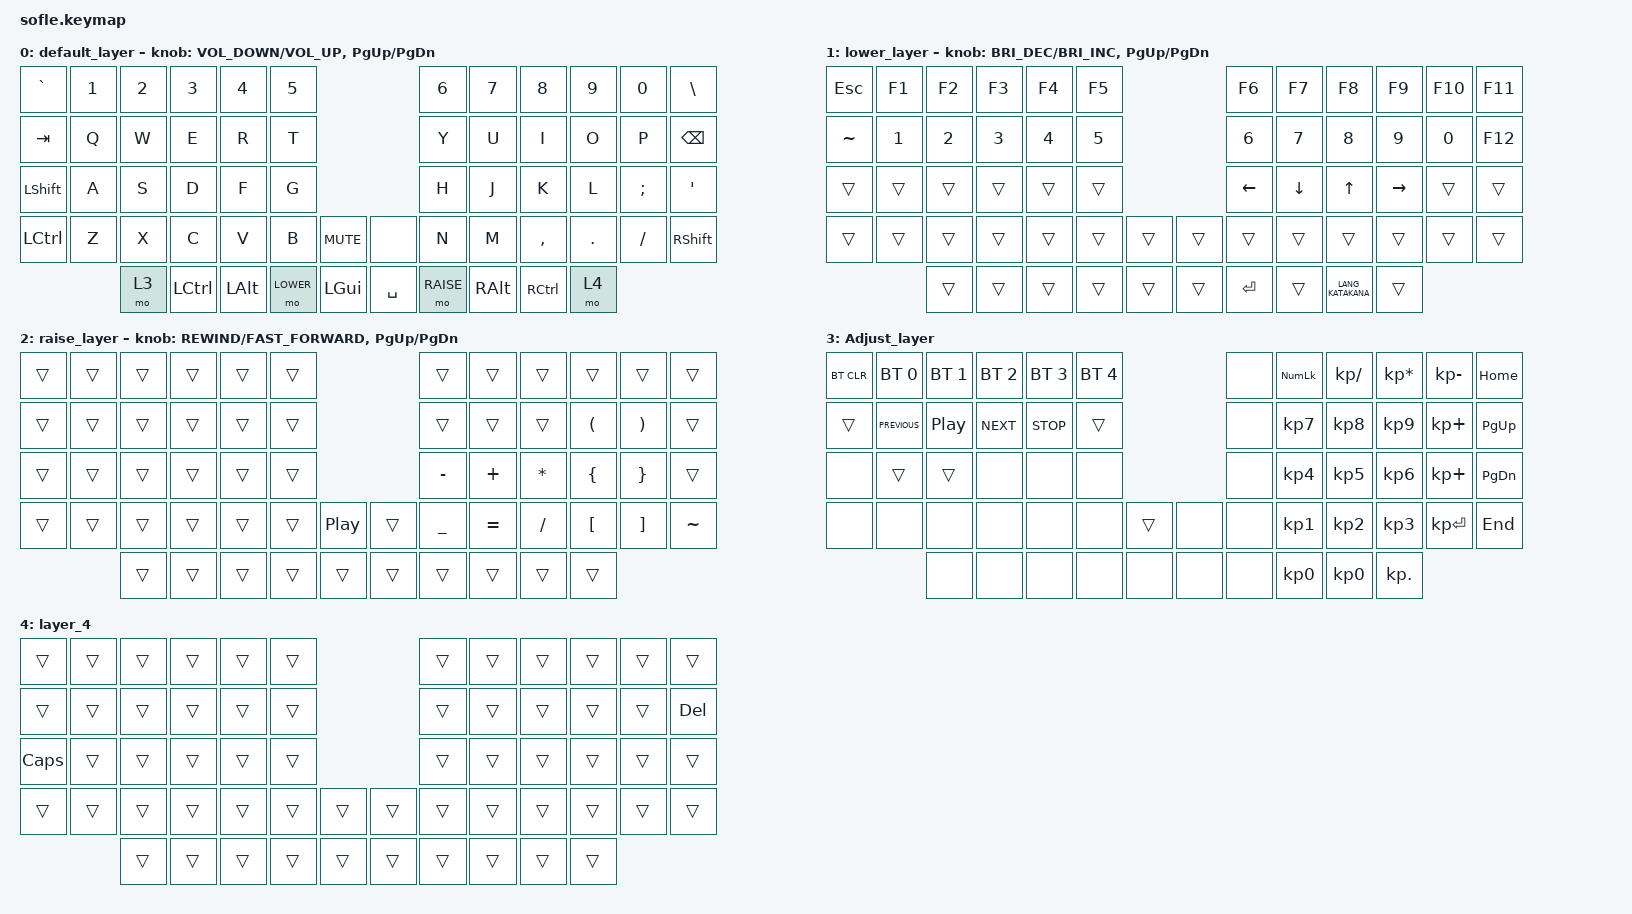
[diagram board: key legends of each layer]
/*
 * Copyright (c) 2020 The ZMK Contributors
 *
 * SPDX-License-Identifier: MIT
 */

#include <behaviors.dtsi>
#include <dt-bindings/zmk/bt.h>
#include <dt-bindings/zmk/keys.h>

#define BASE 0
#define LOWER 1
#define RAISE 2
#define ADJUST 3

/ {
    // Activate ADJUST layer by pressing raise and lower

    conditional_layers {
        compatible = "zmk,conditional-layers";

        adjust_layer {
            if-layers = <LOWER RAISE>;
            then-layer = <ADJUST>;
        };
    };

    keymap {
        compatible = "zmk,keymap";

        default_layer {
            // ------------------------------------------------------------------------------------------------------------
            // |  `    |  1  |  2  |  3   |  4   |  5   |                   |  6   |  7    |  8    |  9   |   0   |       |
            // |  ESC  |  Q  |  W  |  E   |  R   |  T   |                   |  Y   |  U    |  I    |  O   |   P   | BKSPC |
            // |  TAB  |  A  |  S  |  D   |  F   |  G   |                   |  H   |  J    |  K    |  L   |   ;   |   '   |
            // | SHIFT |  Z  |  X  |  C   |  V   |  B   |  MUTE  |  |       |  N   |  M    |  ,    |  .   |   /   | SHIFT |
            //               | GUI | ALT  | CTRL | LOWER|  ENTER |  | SPACE | RAISE| CTRL  | ALT   | GUI  |

            bindings = <
&kp GRAVE   &kp N1  &kp N2  &kp N3     &kp N4    &kp N5                            &kp N6     &kp N7    &kp N8     &kp N9   &kp N0    &kp BACKSLASH
&kp TAB     &kp Q   &kp W   &kp E      &kp R     &kp T                             &kp Y      &kp U     &kp I      &kp O    &kp P     &kp BSPC
&kp LSHIFT  &kp A   &kp S   &kp D      &kp F     &kp G                             &kp H      &kp J     &kp K      &kp L    &kp SEMI  &kp SQT
&kp LCTRL   &kp Z   &kp X   &kp C      &kp V     &kp B      &kp C_MUTE  &none      &kp N      &kp M     &kp COMMA  &kp DOT  &kp FSLH  &kp RSHFT
                    &mo 3   &kp LCTRL  &kp LALT  &mo LOWER  &kp LGUI    &kp SPACE  &mo RAISE  &kp RALT  &kp RCTRL  &mo 4
            >;

            sensor-bindings =
                <&inc_dec_kp C_VOLUME_DOWN C_VOL_UP>,
                <&inc_dec_kp PG_UP PG_DN>;
        };

        lower_layer {
            // TODO: Some binds are waiting for shifted keycode support.
            // ------------------------------------------------------------------------------------------------------------
            // |       |  F1 |  F2 |  F3  |  F4  |  F5  |                   |  F6  |  F7   |  F8   |  F9  |  F10  |  F11  |
            // | `     |   1 |   2 |   3  |   4  |   5  |                   |   6  |   7   |   8   |   9  |    0  |  F12  |
            // |       |  !  |  @  |  #   |  $   |  %   |                   |  ^   |  &    |  *    |  (   |   )   |   |   |
            // |       |  =  |  -  |  +   |  {   |  }   |        |  |       |  [   |  ]    |  ;    |  :   |   \   |       |
            //               |     |      |      |      |        |  |       |      |       |       |      |

            bindings = <
&kp ESC    &kp F1  &kp F2  &kp F3  &kp F4  &kp F5                  &kp F6    &kp F7    &kp F8             &kp F9     &kp F10  &kp F11
&kp TILDE  &kp N1  &kp N2  &kp N3  &kp N4  &kp N5                  &kp N6    &kp N7    &kp N8             &kp N9     &kp N0   &kp F12
&trans     &trans  &trans  &trans  &trans  &trans                  &kp LEFT  &kp DOWN  &kp UP_ARROW       &kp RIGHT  &trans   &trans
&trans     &trans  &trans  &trans  &trans  &trans  &trans  &trans  &trans    &trans    &trans             &trans     &trans   &trans
                   &trans  &trans  &trans  &trans  &trans  &trans  &kp RET   &trans    &kp LANG_KATAKANA  &trans
            >;

            sensor-bindings =
                <&inc_dec_kp C_BRIGHTNESS_DEC C_BRIGHTNESS_INC>,
                <&inc_dec_kp PG_UP PG_DN>;
        };

        raise_layer {
            // ------------------------------------------------------------------------------------------------------------
            // |BTCLR| BT1  | BT2  |  BT3  |  BT4  |  BT5 |                |      |      |       |      |       |       |
            // |     | INS  | PSCR | GUI   |       |      |                | PGUP |      |   ^   |      |       |       |
            // |     | ALT  | CTRL | SHIFT |       | CAPS |                | PGDN |   <- |   v   |  ->  |  DEL  | BKSPC |
            // |     | UNDO | CUT  | COPY  | PASTE |      |      |  |      |      |      |       |      |       |       |
            //              |      |       |       |      |      |  |      |      |      |       |      |

            bindings = <
&trans  &trans  &trans  &trans  &trans  &trans                            &trans     &trans     &trans     &trans                &trans                 &trans
&trans  &trans  &trans  &trans  &trans  &trans                            &trans     &trans     &trans     &kp LEFT_PARENTHESIS  &kp RIGHT_PARENTHESIS  &trans
&trans  &trans  &trans  &trans  &trans  &trans                            &kp MINUS  &kp PLUS   &kp STAR   &kp LEFT_BRACE        &kp RIGHT_BRACE        &trans
&trans  &trans  &trans  &trans  &trans  &trans  &kp C_PLAY_PAUSE  &trans  &kp UNDER  &kp EQUAL  &kp SLASH  &kp LEFT_BRACKET      &kp RIGHT_BRACKET      &kp TILDE
                &trans  &trans  &trans  &trans  &trans            &trans  &trans     &trans     &trans     &trans
            >;

            sensor-bindings =
                <&inc_dec_kp C_REWIND C_FAST_FORWARD>,
                <&inc_dec_kp PG_UP PG_DN>;
        };

        // ------------------------------------------------------------------------------------------------------------
        // |BTCLR | BT1   | BT2   |  BT3  |  BT4  |  BT5  |                |      |      |       |      |       |       |
        // |EXTPWR|RGB_HUD|RGB_HUI|RGB_SAD|RGB_SAI|RGB_EFF|                |      |      |       |      |       |       |
        // |      |RGB_BRD|RGB_BRI|       |       |       |                |      |      |       |      |       |       |
        // |      |       |       |       |       |       |RGB_TOG| |      |      |      |       |      |       |       |
        //                |       |       |       |       |       | |      |      |      |       |      |

        Adjust_layer {
            bindings = <
&bt BT_CLR  &bt BT_SEL 0    &bt BT_SEL 1      &bt BT_SEL 2  &bt BT_SEL 3  &bt BT_SEL 4                 &none  &kp KP_NUMLOCK   &kp KP_DIVIDE  &kp KP_MULTIPLY  &kp KP_MINUS  &kp HOME
&trans      &kp C_PREVIOUS  &kp C_PLAY_PAUSE  &kp C_NEXT    &kp C_STOP    &trans                       &none  &kp KP_NUMBER_7  &kp KP_N8      &kp KP_N9        &kp KP_PLUS   &kp PG_UP
&none       &trans          &trans            &none         &none         &none                        &none  &kp KP_N4        &kp KP_N5      &kp KP_N6        &kp KP_PLUS   &kp PG_DN
&none       &none           &none             &none         &none         &none         &trans  &none  &none  &kp KP_N1        &kp KP_N2      &kp KP_N3        &kp KP_ENTER  &kp END
                            &none             &none         &none         &none         &none   &none  &none  &kp KP_N0        &kp KP_N0      &kp KP_DOT
            >;
        };

        layer_4 {
            bindings = <
&trans        &trans  &trans  &trans  &trans  &trans                  &trans  &trans  &trans  &trans  &trans  &trans
&trans        &trans  &trans  &trans  &trans  &trans                  &trans  &trans  &trans  &trans  &trans  &kp DELETE
&kp CAPSLOCK  &trans  &trans  &trans  &trans  &trans                  &trans  &trans  &trans  &trans  &trans  &trans
&trans        &trans  &trans  &trans  &trans  &trans  &trans  &trans  &trans  &trans  &trans  &trans  &trans  &trans
                      &trans  &trans  &trans  &trans  &trans  &trans  &trans  &trans  &trans  &trans
            >;
        };
    };
};
